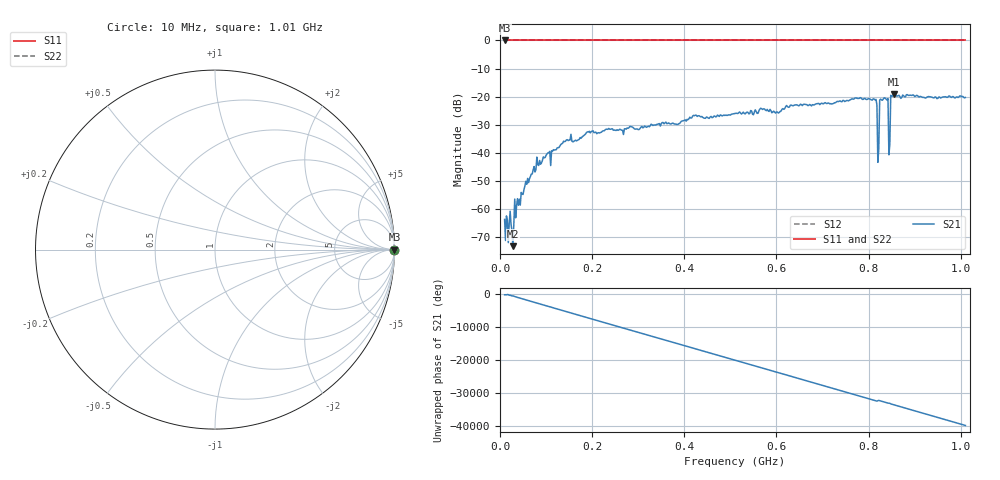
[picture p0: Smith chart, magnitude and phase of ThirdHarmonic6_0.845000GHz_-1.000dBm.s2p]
! 8/16/2025 4:00:07 AM
! C:\ANRITSUVNA\TEMP\TEMP.S2P
! CHANNEL.1
! TR.MEASUREMENT
! RAW.DATA
! RF.CORRECTION.OFF
! AVERAGING.OFF
! IF.BANDWIDTH: 5KHZ
! SWEEPTYPE:  FREQ.SWEEP(Linear)
! Reference Plane Port Info
! PORT:  PORT1  PORT2
! DISTANCE:  0  m  0  m
! TIME:  0  s  0  s
! PHASE.OFFSET:  0  deg.  0  deg.
! LOSS:  0  dB  0  dB
! REF.LOSS:  0  dB  0  dB
! REF.FREQ:  0  Hz  0  Hz
! Power Info
! POWER:  -20  dBm  -20  dBm
! EFF.POWER:  -20  dBm  -20  dBm
! SOURCE.ATTEN:  0  dB  0  dB
! TEST.ATTEN:  0  dB  0  dB
# GHZ S RI R 50.0
! FREQ.GHZ  S11RE  S11IM  S21RE  S21IM  S12RE  S12IM  S22RE  S22IM
!; PortSelection: Port_12
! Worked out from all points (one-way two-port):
!   501 points, 10 MHz to 1.01 GHz, reference 50 ohm
!   highest |S21| = -19.18 dB at 854 MHz (marker M1); lowest = -73.2 dB at 28 MHz (marker M2)
!   lowest |S11| = 0.0 dB at 10 MHz (marker M3)
!   |S11| at or under -10 dB: nowhere
!   |S22| runs from 0.0 to 0.0 dB; largest |S21 - S12| = 1.1
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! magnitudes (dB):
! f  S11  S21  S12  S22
! 10 MHz  0.0  -63.7  0.0  0.0
! 28 MHz  0.0  -73.2  0.0  0.0
! 36 MHz  0.0  -58.8  0.0  0.0
! 82 MHz  0.0  -44.2  0.0  0.0
! 142 MHz  0.0  -35.9  0.0  0.0
! 178 MHz  0.0  -34.4  0.0  0.0
! 344 MHz  0.0  -29.7  0.0  0.0
! 510 MHz  0.0  -26.0  0.0  0.0
! 678 MHz  0.0  -22.8  0.0  0.0
! 812 MHz  0.0  -20.9  0.0  0.0
! 814 MHz  0.0  -21.1  0.0  0.0
! 818 MHz  0.0  -22.9  0.0  0.0
! 822 MHz  0.0  -38.7  0.0  0.0
! 824 MHz  0.0  -21.2  0.0  0.0
! 828 MHz  0.0  -21.2  0.0  0.0
! 838 MHz  0.0  -20.9  0.0  0.0
! 842 MHz  0.0  -20.7  0.0  0.0
! 844 MHz  0.0  -40.7  0.0  0.0
! 848 MHz  0.0  -19.5  0.0  0.0
! 852 MHz  0.0  -19.8  0.0  0.0
! 854 MHz  0.0  -19.2  0.0  0.0
! 1.01 GHz  0.0  -20.3  0.0  0.0
